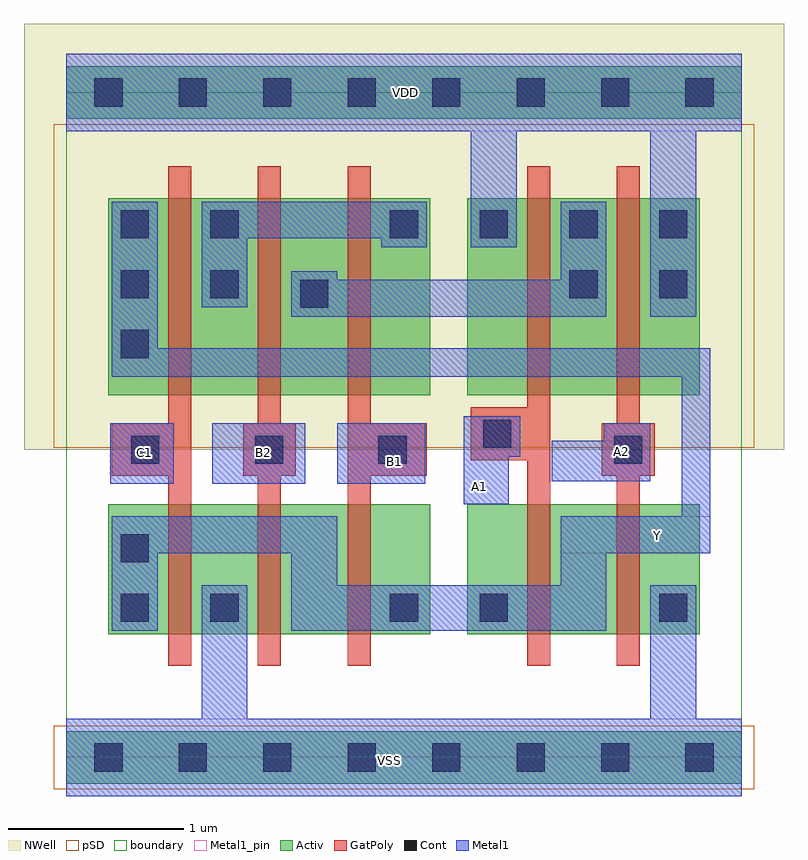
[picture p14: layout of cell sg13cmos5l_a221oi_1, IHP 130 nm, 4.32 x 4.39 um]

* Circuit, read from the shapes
.subckt sg13cmos5l_a221oi_1 A1 A2 B1 B2 C1 VDD VSS Y
XM1 VSS C1 Y VSS sg13_lv_nmos w=0.74u l=0.13u
XM2 n1 B2 VSS VSS sg13_lv_nmos w=0.74u l=0.13u
XM3 Y B1 n1 VSS sg13_lv_nmos w=0.74u l=0.13u
XM4 n2 A1 Y VSS sg13_lv_nmos w=0.74u l=0.13u
XM5 VSS A2 n2 VSS sg13_lv_nmos w=0.74u l=0.13u
XM6 n3 C1 Y VDD sg13_lv_pmos w=1.12u l=0.13u
XM7 n4 B2 n3 VDD sg13_lv_pmos w=1.12u l=0.13u
XM8 n3 B1 n4 VDD sg13_lv_pmos w=1.12u l=0.13u
XM9 n4 A1 VDD VDD sg13_lv_pmos w=1.12u l=0.13u
XM10 VDD A2 n4 VDD sg13_lv_pmos w=1.12u l=0.13u
.ends

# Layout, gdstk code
import gdstk
lib = gdstk.Library(unit=1e-6, precision=1e-09)
def R(c, l, rs):  # rectangles x0, y0, x1, y1
    for r in rs: c.add(gdstk.rectangle(r[:2], r[2:], *l))
def A(c, l, x, y, w, h, nx, ny, dx, dy):  # array of equal rectangles
    R(c, l, [(x+i*dx, y+j*dy, x+i*dx+w, y+j*dy+h) for i in range(nx) for j in range(ny)])
def P(c, l, *ps):  # polygons
    for p in ps: c.add(gdstk.Polygon(p, *l))
Activ = (1, 0)
GatPoly = (5, 0)
Cont = (6, 0)
Metal1 = (8, 0)
Metal1_pin = (8, 2)
pSD = (14, 0)
NWell = (31, 0)
boundary = (189, 4)

sg13cmos5l_a221oi_1 = lib.new_cell('sg13cmos5l_a221oi_1')
R(sg13cmos5l_a221oi_1, Activ, [(0,-0.15,3.84,0.15), (0.24,0.7,2.07,1.44), (2.28,0.7,3.6,1.44), (0.24,2.06,2.07,3.18), (2.28,2.06,3.6,3.18), (0,3.63,3.84,3.93)])
P(sg13cmos5l_a221oi_1, GatPoly, [(1.6,0.52),(1.6,3.36),(1.73,3.36),(1.73,1.9),(2.05,1.9),(2.05,1.6),(1.73,1.6),(1.73,0.52)],
  [(0.58,0.52),(0.58,1.6),(0.26,1.6),(0.26,1.9),(0.58,1.9),(0.58,3.36),(0.71,3.36),(0.71,0.52)],
  [(3.13,0.52),(3.13,1.6),(3.045,1.6),(3.045,1.9),(3.13,1.9),(3.13,3.36),(3.26,3.36),(3.26,1.9),(3.345,1.9),(3.345,1.6),(3.26,1.6),(3.26,0.52)],
  [(1.09,0.52),(1.09,1.6),(1.005,1.6),(1.005,1.9),(1.09,1.9),(1.09,3.36),(1.22,3.36),(1.22,1.9),(1.305,1.9),(1.305,1.6),(1.22,1.6),(1.22,0.52)],
  [(2.62,0.52),(2.62,1.69),(2.3,1.69),(2.3,1.99),(2.62,1.99),(2.62,3.36),(2.75,3.36),(2.75,0.52)])
A(sg13cmos5l_a221oi_1, Cont, 0.16, -0.08, 0.16, 0.16, 8, 2, 0.48, 3.78)
A(sg13cmos5l_a221oi_1, Cont, 0.31, 2.27, 0.16, 0.16, 1, 3, 0, 0.34)
A(sg13cmos5l_a221oi_1, Cont, 1.84, 2.95, 0.16, 0.16, 4, 1, 0.51, 0)
R(sg13cmos5l_a221oi_1, Cont, [(0.31,0.77,0.47,0.93), (0.82,0.77,0.98,0.93), (1.84,0.77,2,0.93), (2.35,0.77,2.51,0.93), (3.37,0.77,3.53,0.93), (0.31,1.11,0.47,1.27), (0.37,1.67,0.53,1.83), (1.075,1.67,1.235,1.83), (1.775,1.67,1.935,1.83), (3.115,1.67,3.275,1.83), (2.37,1.76,2.53,1.92), (1.33,2.555,1.49,2.715), (0.82,2.61,0.98,2.77), (2.86,2.61,3.02,2.77), (3.37,2.61,3.53,2.77), (0.82,2.95,0.98,3.11)])
R(sg13cmos5l_a221oi_1, Metal1, [(0.25,1.555,0.61,1.9), (0.83,1.555,1.36,1.9), (1.54,1.555,2.04,1.9)])
P(sg13cmos5l_a221oi_1, Metal1, [(3.32,2.505),(3.32,3.56),(2.56,3.56),(2.56,2.9),(2.3,2.9),(2.3,3.56),(0,3.56),(0,4),(3.84,4),(3.84,3.56),(3.58,3.56),(3.58,2.505)],
  [(0.77,2.56),(0.77,3.16),(2.05,3.16),(2.05,2.9),(1.79,2.9),(1.79,2.95),(1.03,2.95),(1.03,2.56)],
  [(0.26,0.72),(0.26,1.37),(1.54,1.37),(1.54,0.98),(2.81,0.98),(2.81,1.37),(3.5,1.37),(3.5,2.165),(0.26,2.165),(0.26,3.16),(0.52,3.16),(0.52,2.325),(3.66,2.325),(3.66,1.16),(3.07,1.16),(3.07,0.72),(1.28,0.72),(1.28,1.16),(0.52,1.16),(0.52,0.72)],
  [(2.76,1.57),(2.76,1.8),(3.055,1.8),(3.055,1.9),(3.32,1.9),(3.32,1.57)],
  [(1.28,2.505),(1.28,2.765),(1.54,2.765),(1.54,2.715),(2.81,2.715),(2.81,3.16),(3.07,3.16),(3.07,2.505)],
  [(2.26,1.44),(2.26,1.94),(2.58,1.94),(2.58,1.71),(2.515,1.71),(2.515,1.44)],
  [(0,-0.22),(0,0.22),(0.77,0.22),(0.77,0.98),(1.03,0.98),(1.03,0.22),(3.32,0.22),(3.32,0.98),(3.58,0.98),(3.58,0.22),(3.84,0.22),(3.84,-0.22)])
R(sg13cmos5l_a221oi_1, Metal1_pin, [(0,-0.22,3.84,0.22), (2.81,1.16,3.66,1.37), (2.26,1.44,2.515,1.94), (0.25,1.555,0.61,1.9), (0.83,1.555,1.36,1.9), (1.54,1.555,2.04,1.9), (2.76,1.57,3.32,1.8), (0,3.56,3.84,4)])
R(sg13cmos5l_a221oi_1, pSD, [(-0.07,-0.18,3.91,0.18), (-0.07,1.76,3.91,3.6)])
R(sg13cmos5l_a221oi_1, NWell, [(-0.24,1.75,4.08,4.17)])
R(sg13cmos5l_a221oi_1, boundary, [(0,0,3.84,3.78)])
sg13cmos5l_a221oi_1.add(gdstk.Label('C1', (0.445,1.735), layer=8, texttype=25))
sg13cmos5l_a221oi_1.add(gdstk.Label('Y', (3.36,1.26), layer=8, texttype=25))
sg13cmos5l_a221oi_1.add(gdstk.Label('B2', (1.12,1.735), layer=8, texttype=25))
sg13cmos5l_a221oi_1.add(gdstk.Label('B1', (1.865,1.68), layer=8, texttype=25))
sg13cmos5l_a221oi_1.add(gdstk.Label('A2', (3.155,1.74), layer=8, texttype=25))
sg13cmos5l_a221oi_1.add(gdstk.Label('VDD', (1.93,3.78), layer=8, texttype=25))
sg13cmos5l_a221oi_1.add(gdstk.Label('A1', (2.35,1.54), layer=8, texttype=25))
sg13cmos5l_a221oi_1.add(gdstk.Label('VSS', (1.84,-0.02), layer=8, texttype=25))

lib.write_gds('sg13cmos5l_a221oi_1.gds')
